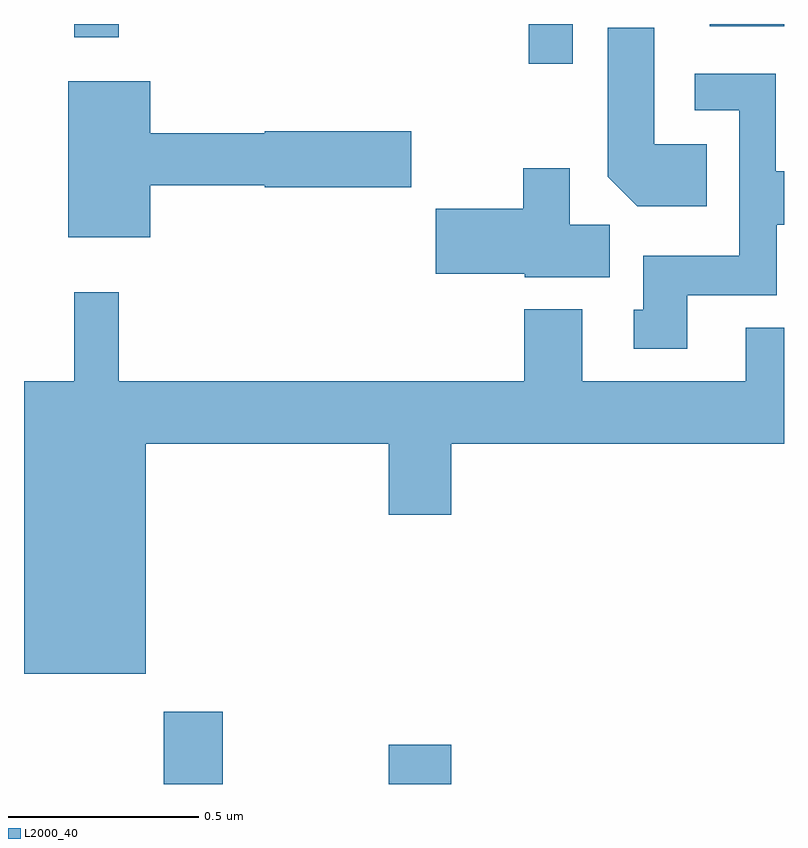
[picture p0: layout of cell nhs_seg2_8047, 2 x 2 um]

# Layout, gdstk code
import gdstk
lib = gdstk.Library(unit=1e-6, precision=1e-09)
def R(c, l, rs):  # rectangles x0, y0, x1, y1
    for r in rs: c.add(gdstk.rectangle(r[:2], r[2:], *l))
def P(c, l, *ps):  # polygons
    for p in ps: c.add(gdstk.Polygon(p, *l))
L2000_40 = (2000, 40)

nhs_seg2_8047 = lib.new_cell('nhs_seg2_8047')
R(nhs_seg2_8047, L2000_40, [(212.368,586.8,212.523,586.99), (212.96,586.8,213.124,586.903), (213.328,588.696,213.444,588.8), (212.132,588.765,212.249,588.8), (213.804,588.794,214,588.8)])
P(nhs_seg2_8047, L2000_40, [(213.797,588.484),(213.658,588.484),(213.658,588.79),(213.536,588.79),(213.536,588.398),(213.614,588.32),(213.797,588.32)],
  [(213.745,588.086),(213.981,588.086),(213.981,588.272),(214,588.272),(214,588.412),(213.978,588.412),(213.978,588.669),(213.765,588.669),(213.765,588.573),(213.882,588.573),(213.882,588.19),(213.629,588.19),(213.629,588.048),(213.605,588.048),(213.605,587.946),(213.745,587.946)],
  [(212.332,588.376),(212.634,588.376),(212.634,588.371),(213.019,588.371),(213.019,588.518),(212.634,588.518),(212.634,588.512),(212.332,588.512),(212.332,588.649),(212.117,588.649),(212.117,588.239),(212.332,588.239)],
  [(213.541,588.272),(213.436,588.272),(213.436,588.421),(213.314,588.421),(213.314,588.314),(213.084,588.314),(213.084,588.143),(213.318,588.143),(213.318,588.134),(213.541,588.134)],
  [(212.32,587.696),(212.96,587.696),(212.96,587.508),(213.124,587.508),(213.124,587.696),(214,587.696),(214,588.001),(213.899,588.001),(213.899,587.86),(213.469,587.86),(213.469,588.049),(213.317,588.049),(213.317,587.86),(212.249,587.86),(212.249,588.094),(212.132,588.094),(212.132,587.86),(212,587.86),(212,587.09),(212.32,587.09)])

lib.write_gds('nhs_seg2_8047.gds')
